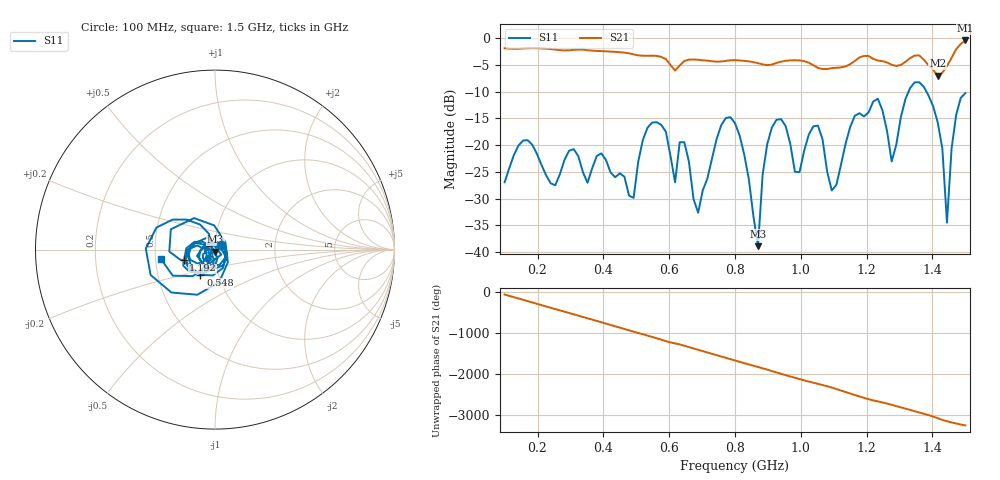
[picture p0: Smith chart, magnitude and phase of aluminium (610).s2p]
! NanoVNA-App
! Date: 2025-09-25 15:00:01
! Start: 100MHz Stop: 1,5GHz Points: 101
! S-Parameter data: F S11 S21 S12 S22
# Hz S RI R 50
!  Frequency  S11_Real  S11_Imag  S21_Real  S21_Imag  S12_Real  S12_Imag  S22_Real  S22_Imag
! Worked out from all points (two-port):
!   101 points, 100 MHz to 1.5 GHz, reference 50 ohm
!   highest |S21| = -0.47 dB at 1.5 GHz (marker M1); lowest = -7.1 dB at 1.416 GHz (marker M2)
!   |S21| within 3 dB of the highest: start of sweep to 570.6 MHz; 1.46 GHz to end of sweep (the widest 2 of 4)
!   lowest |S11| = -38.9 dB at 870 MHz (marker M3), VSWR 1.02, Z = 50.2 - j1.12 ohm
!   |S11| at or under -10 dB: start of sweep to 1.328 GHz; 1.381 GHz to end of sweep
!   S12 and S22 are empty: the file has one direction only
!   S11 on the Smith chart (normalised r, x): 100 MHz: 1.07, +0.06; 548 MHz: 0.82, -0.24; 1.192 GHz: 0.70, -0.09; 1.5 GHz: 0.54, -0.06
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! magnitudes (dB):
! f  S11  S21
! 100 MHz  -27.0  -1.9
! 156 MHz  -19.2  -2.0
! 338 MHz  -25.1  -2.2
! 492 MHz  -29.9  -3.1
! 548 MHz  -15.8  -3.3
! 576 MHz  -16.2  -3.5
! 646 MHz  -19.5  -4.3
! 688 MHz  -32.6  -4.1
! 800 MHz  -15.9  -4.1
! 870 MHz  -38.9  -4.7
! 912 MHz  -16.7  -5.0
! 996 MHz  -25.1  -4.2
! 1.038 GHz  -16.5  -5.1
! 1.094 GHz  -28.5  -5.6
! 1.192 GHz  -14.6  -3.3
! 1.234 GHz  -11.3  -4.2
! 1.276 GHz  -23.1  -5.0
! 1.346 GHz  -8.3  -3.3
! 1.416 GHz  -15.8  -7.1
! 1.444 GHz  -34.5  -5.3
! 1.472 GHz  -14.3  -2.1
! 1.5 GHz  -10.3  -0.5
